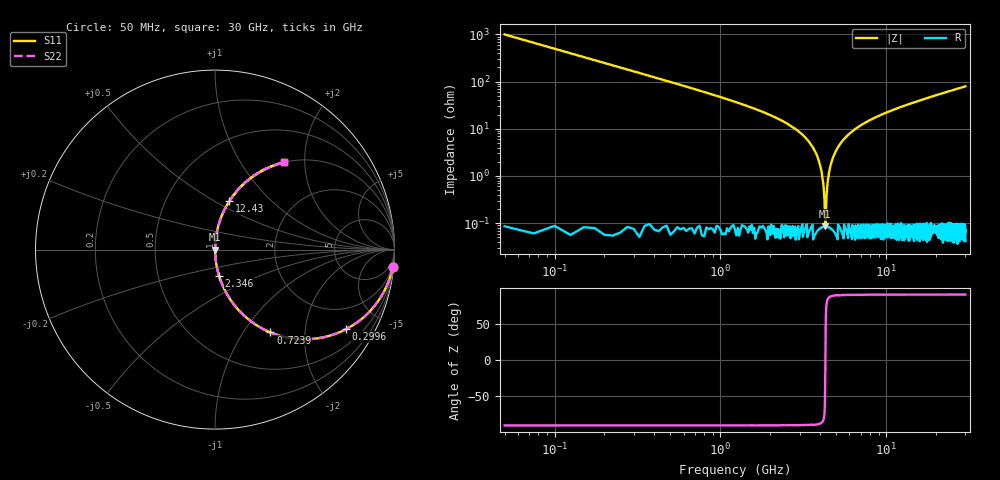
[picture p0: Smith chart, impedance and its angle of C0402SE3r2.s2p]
!	AVX Thin Film Operation 	Date: April 2014
!	Description: Accu-P® Series, Thin Film  SMD RF Capacitor
!	Part Number: 04025J3R2ABSTR
# MHZ S MA R 50
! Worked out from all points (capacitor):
!   1201 points, 50 MHz to 30 GHz, reference 50 ohm
!   read as one part in series: C = 3.2 pF near 199.8 MHz
!   lowest |Z| = 86.2 mohm at 4.293 GHz (marker M1)
!   series resonance near 4.296 GHz, so ESL is about 430 pH
!   S11 on the Smith chart (normalised r, x): 50 MHz: 1, -20; 299.6 MHz: 1.00, -3.30; 723.9 MHz: 1.00, -1.34; 2.346 GHz: 1.00, -0.30; 12.43 GHz: 1.00, +0.59; 30 GHz: 1.00, +1.59
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50  0.995 -5.7  0.1 84.3  0.1 84.3  0.995 -5.7
299.583  0.855 -31.2  0.518 58.8  0.518 58.8  0.855 -31.2
723.875  0.555 -56.2  0.831 33.7  0.831 33.7  0.555 -56.2
1297.917  0.329 -70.7  0.944 19.2  0.944 19.2  0.329 -70.7
2346.167  0.147 -81.3  0.988 8.5  0.988 8.5  0.147 -81.3
3169.792  0.071 -85.4  0.997 4.1  0.997 4.1  0.071 -85.4
3693.917  0.035 -86.8  0.999 2.0  0.999 2.0  0.035 -86.8
3993.417  0.017 -86.7  0.999 1.0  0.999 1.0  0.017 -86.7
4193.083  0.00563 -82.5  0.999 0.3  0.999 0.3  0.00563 -82.5
4292.917  0.0007137 -11.4  0.999 0.0  0.999 0.0  0.0007137 -11.4
4392.75  0.005227 82.0  0.999 -0.3  0.999 -0.3  0.005227 82.0
4517.542  0.012 85.9  0.999 -0.7  0.999 -0.7  0.012 85.9
4642.333  0.018 86.7  0.999 -1.0  0.999 -1.0  0.018 86.7
5041.667  0.037 86.8  0.999 -2.1  0.999 -2.1  0.037 86.8
5715.542  0.067 85.6  0.997 -3.8  0.997 -3.8  0.067 85.6
6688.917  0.105 83.6  0.994 -6.0  0.994 -6.0  0.105 83.6
10058.29  0.216 77.3  0.976 -12.5  0.976 -12.5  0.216 77.3
12429.33  0.283 73.4  0.959 -16.4  0.959 -16.4  0.283 73.4
15025  0.348 69.5  0.937 -20.4  0.937 -20.4  0.348 69.5
20016.67  0.457 62.7  0.889 -27.2  0.889 -27.2  0.457 62.7
25033.29  0.548 56.7  0.836 -33.2  0.836 -33.2  0.548 56.7
30000  0.621 51.6  0.784 -38.4  0.784 -38.4  0.621 51.6
